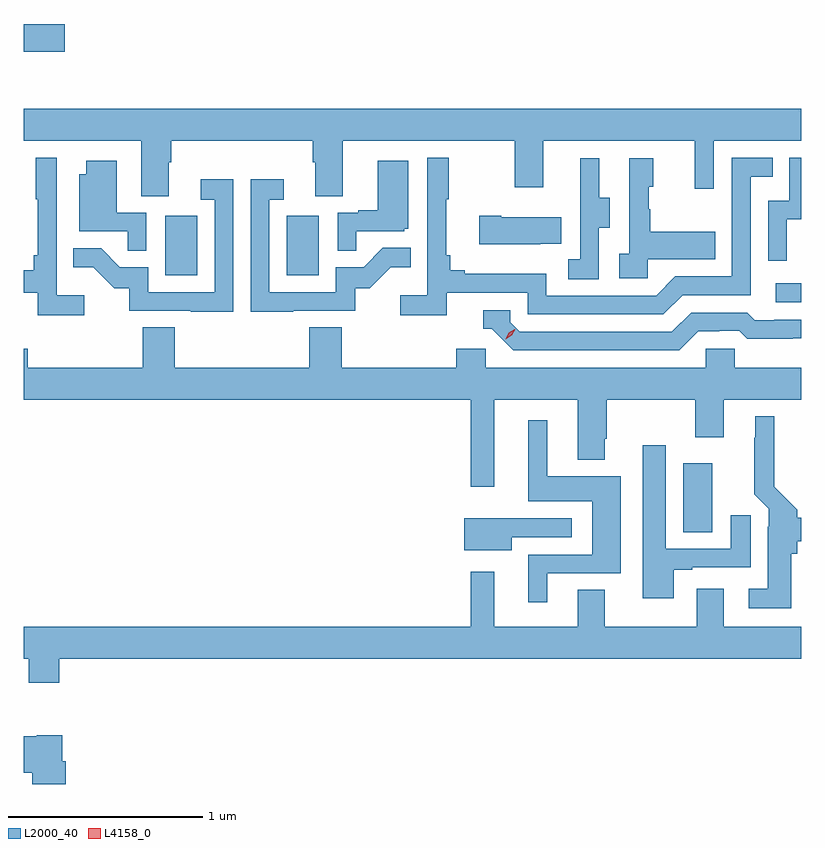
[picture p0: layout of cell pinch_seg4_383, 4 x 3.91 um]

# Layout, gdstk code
import gdstk
lib = gdstk.Library(unit=1e-6, precision=1e-09)
def R(c, l, rs):  # rectangles x0, y0, x1, y1
    for r in rs: c.add(gdstk.rectangle(r[:2], r[2:], *l))
def P(c, l, *ps):  # polygons
    for p in ps: c.add(gdstk.Polygon(p, *l))
L2000_40 = (2000, 40)
L4158_0 = (4158, 0)

pinch_seg4_383 = lib.new_cell('pinch_seg4_383')
R(pinch_seg4_383, L2000_40, [(990.314,782.818,990.463,783.172), (990.789,784.002,990.921,784.098), (987.65,784.14,987.814,784.447), (988.274,784.14,988.438,784.447), (986.921,785.29,987.133,785.432)])
P(pinch_seg4_383, L2000_40, [(987.667,784.72),(987.68,784.72),(987.68,784.832),(988.409,784.832),(988.409,784.72),(988.421,784.72),(988.421,784.546),(988.561,784.546),(988.561,784.832),(989.446,784.832),(989.446,784.593),(989.593,784.593),(989.593,784.832),(990.374,784.832),(990.374,784.584),(990.471,784.584),(990.471,784.832),(990.921,784.832),(990.921,784.996),(986.921,784.996),(986.921,784.832),(987.527,784.832),(987.527,784.546),(987.667,784.546)],
  [(987.232,784.036),(987.09,784.036),(987.09,784.744),(986.982,784.744),(986.982,784.531),(986.993,784.531),(986.993,784.243),(986.974,784.243),(986.974,784.166),(986.921,784.166),(986.921,784.05),(986.993,784.05),(986.993,783.934),(987.232,783.934)],
  [(989.096,784.05),(989.514,784.05),(989.514,783.939),(990.211,783.939),(990.31,784.038),(990.66,784.038),(990.66,784.647),(990.773,784.647),(990.773,784.743),(990.564,784.743),(990.564,784.134),(990.273,784.134),(990.174,784.035),(989.61,784.035),(989.61,784.147),(989.191,784.147),(989.191,784.166),(989.114,784.166),(989.114,784.243),(989.095,784.243),(989.095,784.531),(989.107,784.531),(989.107,784.744),(988.998,784.744),(988.998,784.036),(988.857,784.036),(988.857,783.934),(989.096,783.934)],
  [(990.846,784.427),(990.921,784.427),(990.921,784.743),(990.858,784.743),(990.858,784.524),(990.75,784.524),(990.75,784.215),(990.846,784.215)],
  [(989.88,784.384),(989.935,784.384),(989.935,784.539),(989.881,784.539),(989.881,784.741),(989.783,784.741),(989.783,784.527),(989.784,784.527),(989.784,784.223),(989.721,784.223),(989.721,784.12),(989.88,784.12)],
  [(990.132,784.223),(990.479,784.223),(990.479,784.363),(990.145,784.363),(990.145,784.478),(990.135,784.478),(990.135,784.596),(990.16,784.596),(990.16,784.741),(990.036,784.741),(990.036,784.25),(989.985,784.25),(989.985,784.125),(990.132,784.125)],
  [(987.552,784.461),(987.4,784.461),(987.4,784.729),(987.242,784.729),(987.242,784.66),(987.206,784.66),(987.206,784.365),(987.457,784.365),(987.457,784.267),(987.552,784.267)],
  [(988.631,784.365),(988.878,784.365),(988.878,784.38),(988.9,784.38),(988.9,784.729),(988.742,784.729),(988.742,784.474),(988.643,784.474),(988.643,784.461),(988.536,784.461),(988.536,784.267),(988.631,784.267)],
  [(987.999,784.633),(987.831,784.633),(987.831,784.527),(987.903,784.527),(987.903,784.053),(987.561,784.053),(987.561,784.182),(987.416,784.182),(987.319,784.279),(987.175,784.279),(987.175,784.181),(987.279,784.181),(987.386,784.074),(987.463,784.074),(987.463,783.957),(987.781,783.957),(987.781,783.952),(987.999,783.952)],
  [(988.307,783.957),(988.626,783.957),(988.626,784.074),(988.702,784.074),(988.809,784.181),(988.913,784.181),(988.913,784.28),(988.769,784.28),(988.671,784.182),(988.527,784.182),(988.527,784.053),(988.185,784.053),(988.185,784.527),(988.258,784.527),(988.258,784.633),(988.089,784.633),(988.089,783.952),(988.307,783.952)],
  [(989.579,784.301),(989.687,784.301),(989.687,784.438),(989.377,784.438),(989.377,784.446),(989.265,784.446),(989.265,784.298),(989.579,784.298)],
  [(990.391,783.852),(990.498,783.852),(990.498,783.855),(990.601,783.855),(990.643,783.813),(990.876,783.813),(990.876,783.815),(990.921,783.815),(990.921,783.912),(990.781,783.912),(990.781,783.909),(990.682,783.909),(990.643,783.948),(990.354,783.948),(990.255,783.849),(989.472,783.849),(989.424,783.897),(989.424,783.96),(989.285,783.96),(989.285,783.864),(989.328,783.864),(989.439,783.753),(990.292,783.753)],
  [(989.341,783.5),(989.771,783.5),(989.771,783.191),(989.911,783.191),(989.911,783.298),(989.919,783.298),(989.919,783.5),(990.376,783.5),(990.376,783.306),(990.523,783.306),(990.523,783.5),(990.921,783.5),(990.921,783.664),(990.579,783.664),(990.579,783.762),(990.429,783.762),(990.429,783.664),(989.298,783.664),(989.298,783.762),(989.147,783.762),(989.147,783.664),(988.556,783.664),(988.556,783.872),(988.391,783.872),(988.391,783.664),(987.698,783.664),(987.698,783.872),(987.533,783.872),(987.533,783.664),(986.942,783.664),(986.942,783.762),(986.921,783.762),(986.921,783.5),(989.22,783.5),(989.22,783.051),(989.341,783.051)],
  [(990.868,782.706),(990.899,782.706),(990.899,782.771),(990.921,782.771),(990.921,782.893),(990.899,782.893),(990.899,782.934),(990.781,783.052),(990.781,783.415),(990.683,783.415),(990.683,783.305),(990.679,783.305),(990.679,783.014),(990.753,782.94),(990.753,782.846),(990.749,782.846),(990.749,782.527),(990.651,782.527),(990.651,782.426),(990.868,782.426)],
  [(989.614,782.607),(989.992,782.607),(989.992,783.106),(989.614,783.106),(989.614,783.394),(989.516,783.394),(989.516,782.978),(989.846,782.978),(989.846,782.703),(989.516,782.703),(989.516,782.457),(989.614,782.457)],
  [(990.265,782.625),(990.361,782.625),(990.361,782.637),(990.661,782.637),(990.661,782.905),(990.557,782.905),(990.557,782.733),(990.223,782.733),(990.223,783.265),(990.104,783.265),(990.104,782.478),(990.265,782.478)],
  [(989.431,782.793),(989.74,782.793),(989.74,782.889),(989.427,782.889),(989.427,782.89),(989.186,782.89),(989.186,782.726),(989.431,782.726)],
  [(987.104,782.168),(990.921,782.168),(990.921,782.332),(990.523,782.332),(990.523,782.527),(990.383,782.527),(990.383,782.332),(989.911,782.332),(989.911,782.522),(989.771,782.522),(989.771,782.332),(989.341,782.332),(989.341,782.614),(989.22,782.614),(989.22,782.332),(986.921,782.332),(986.921,782.168),(986.947,782.168),(986.947,782.044),(987.104,782.044)],
  [(987.137,781.641),(987.119,781.641),(987.119,781.774),(986.988,781.774),(986.988,781.768),(986.921,781.768),(986.921,781.58),(986.966,781.58),(986.966,781.523),(987.137,781.523)])
P(pinch_seg4_383, L4158_0, [(989.4,783.811),(989.4,783.812),(989.417,783.844),(989.448,783.862),(989.449,783.862),(989.449,783.862),(989.432,783.83),(989.4,783.811)])

lib.write_gds('pinch_seg4_383.gds')
